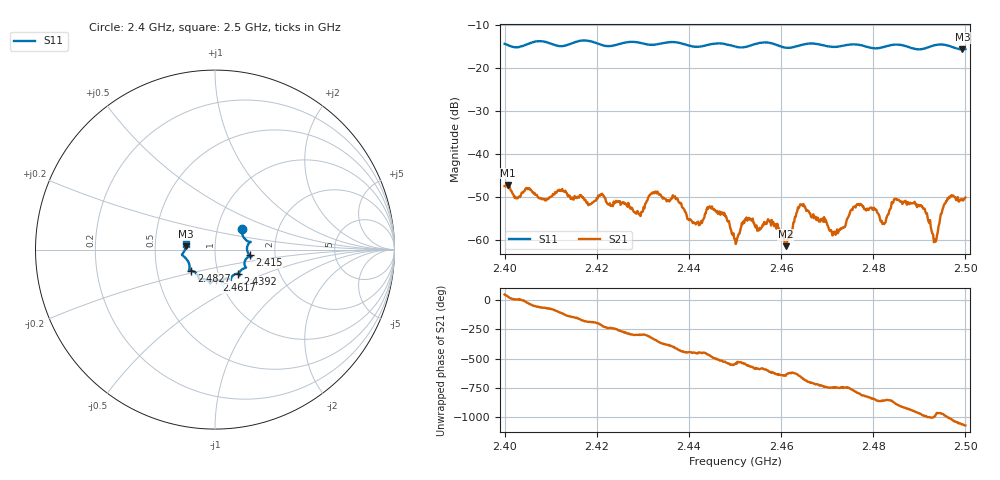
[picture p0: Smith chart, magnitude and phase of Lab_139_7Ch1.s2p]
# Hz S RI R 50
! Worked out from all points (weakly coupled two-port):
!   601 points, 2.4 GHz to 2.5 GHz, reference 50 ohm
!   highest |S21| = -47.23 dB at 2.4007 GHz (marker M1); lowest = -61.4 dB at 2.461 GHz (marker M2)
!   lowest |S11| = -15.7 dB at 2.4993 GHz (marker M3), VSWR 1.39, Z = 36 + j1.45 ohm
!   |S11| at or under -10 dB: start of sweep to end of sweep
!   S12 and S22 are empty: the file has one direction only
!   S11 on the Smith chart (normalised r, x): 2.4 GHz: 1.31, +0.31; 2.415 GHz: 1.47, -0.10; 2.4392 GHz: 1.24, -0.35; 2.4617 GHz: 0.96, -0.34; 2.4827 GHz: 0.75, -0.18; 2.5 GHz: 0.72, +0.05
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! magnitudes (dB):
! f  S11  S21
! 2.4 GHz  -14.4  -47.5
! 2.4007 GHz  -14.7  -47.2
! 2.415 GHz  -14.2  -50.6
! 2.4167 GHz  -13.7  -49.7
! 2.429 GHz  -14.1  -53.6
! 2.4333 GHz  -14.5  -49.0
! 2.4392 GHz  -14.6  -53.5
! 2.4472 GHz  -14.4  -53.6
! 2.45 GHz  -15.1  -59.7
! 2.4527 GHz  -15.1  -55.5
! 2.461 GHz  -15.3  -61.4
! 2.4617 GHz  -15.4  -59.5
! 2.4642 GHz  -14.8  -51.7
! 2.4667 GHz  -14.3  -54.7
! 2.4715 GHz  -15.2  -58.1
! 2.4827 GHz  -15.1  -55.9
! 2.4833 GHz  -14.9  -54.0
! 2.4902 GHz  -15.7  -51.9
! 2.4933 GHz  -14.8  -59.8
! 2.496 GHz  -14.8  -50.9
! 2.4993 GHz  -15.7  -50.5
! 2.5 GHz  -15.7  -50.1
